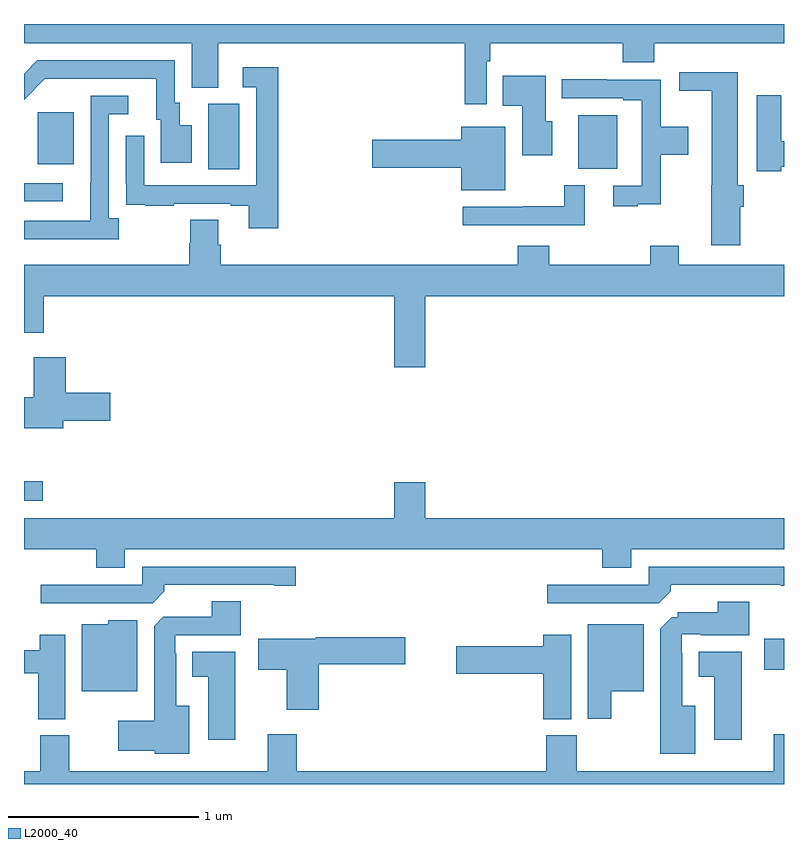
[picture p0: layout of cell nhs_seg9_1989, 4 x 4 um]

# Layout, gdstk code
import gdstk
lib = gdstk.Library(unit=1e-6, precision=1e-09)
def R(c, l, rs):  # rectangles x0, y0, x1, y1
    for r in rs: c.add(gdstk.rectangle(r[:2], r[2:], *l))
def P(c, l, *ps):  # polygons
    for p in ps: c.add(gdstk.Polygon(p, *l))
L2000_40 = (2000, 40)

nhs_seg9_1989 = lib.new_cell('nhs_seg9_1989')
R(nhs_seg9_1989, L2000_40, [(226.896,1213.102,227,1213.264), (223,1213.992,223.099,1214.093), (223,1215.567,223.204,1215.663), (223.97,1215.736,224.134,1216.08), (225.917,1215.737,226.123,1216.021), (223.073,1215.761,223.261,1216.036)])
P(nhs_seg9_1989, L2000_40, [(225.435,1216.304),(225.455,1216.304),(225.455,1216.4),(226.151,1216.4),(226.151,1216.298),(226.316,1216.298),(226.316,1216.4),(227,1216.4),(227,1216.5),(223,1216.5),(223,1216.4),(223.883,1216.4),(223.883,1216.165),(224.023,1216.165),(224.023,1216.4),(225.319,1216.4),(225.319,1216.077),(225.435,1216.077)],
  [(223.882,1215.967),(223.819,1215.967),(223.819,1216.086),(223.794,1216.086),(223.794,1216.308),(223.07,1216.308),(223,1216.238),(223,1216.102),(223.11,1216.212),(223.697,1216.212),(223.697,1215.996),(223.721,1215.996),(223.721,1215.771),(223.882,1215.771)],
  [(224.339,1216.273),(224.151,1216.273),(224.151,1216.167),(224.223,1216.167),(224.223,1215.651),(223.632,1215.651),(223.632,1215.913),(223.536,1215.913),(223.536,1215.658),(223.537,1215.658),(223.537,1215.549),(223.639,1215.549),(223.639,1215.543),(223.787,1215.543),(223.787,1215.555),(224.087,1215.555),(224.087,1215.543),(224.183,1215.543),(224.183,1215.426),(224.339,1215.426)],
  [(226.769,1215.537),(226.787,1215.537),(226.787,1215.651),(226.756,1215.651),(226.756,1216.246),(226.449,1216.246),(226.449,1216.148),(226.619,1216.148),(226.619,1215.651),(226.616,1215.651),(226.616,1215.336),(226.769,1215.336)],
  [(225.781,1215.987),(225.745,1215.987),(225.745,1216.228),(225.52,1216.228),(225.52,1216.07),(225.623,1216.07),(225.623,1215.809),(225.781,1215.809)],
  [(226.229,1215.551),(226.352,1215.551),(226.352,1215.811),(226.495,1215.811),(226.495,1215.958),(226.352,1215.958),(226.352,1216.206),(226.067,1216.206),(226.067,1216.208),(225.83,1216.208),(225.83,1216.11),(226.154,1216.11),(226.154,1216.098),(226.251,1216.098),(226.251,1215.648),(226.101,1215.648),(226.101,1215.54),(226.229,1215.54)],
  [(226.986,1215.748),(227,1215.748),(227,1215.884),(226.986,1215.884),(226.986,1216.126),(226.856,1216.126),(226.856,1215.725),(226.986,1215.725)],
  [(223.498,1215.478),(223.446,1215.478),(223.446,1216.026),(223.549,1216.026),(223.549,1216.122),(223.35,1216.122),(223.35,1215.665),(223.349,1215.665),(223.349,1215.465),(223,1215.465),(223,1215.368),(223.498,1215.368)],
  [(225.532,1215.958),(225.302,1215.958),(225.302,1215.89),(224.832,1215.89),(224.832,1215.743),(225.302,1215.743),(225.302,1215.626),(225.532,1215.626)],
  [(225.952,1215.652),(225.843,1215.652),(225.843,1215.542),(225.628,1215.542),(225.628,1215.537),(225.309,1215.537),(225.309,1215.441),(225.952,1215.441)],
  [(225.112,1215.068),(227,1215.068),(227,1215.232),(226.447,1215.232),(226.447,1215.334),(226.295,1215.334),(226.295,1215.232),(225.764,1215.232),(225.764,1215.334),(225.599,1215.334),(225.599,1215.232),(224.036,1215.232),(224.036,1215.338),(224.023,1215.338),(224.023,1215.47),(223.876,1215.47),(223.876,1215.345),(223.871,1215.345),(223.871,1215.232),(223,1215.232),(223,1214.874),(223.103,1214.874),(223.103,1215.068),(224.948,1215.068),(224.948,1214.694),(225.112,1214.694)],
  [(223.207,1214.411),(223.453,1214.411),(223.453,1214.558),(223.22,1214.558),(223.22,1214.746),(223.052,1214.746),(223.052,1214.535),(223,1214.535),(223,1214.372),(223.207,1214.372)],
  [(223.531,1213.736),(226.043,1213.736),(226.043,1213.637),(226.195,1213.637),(226.195,1213.736),(227,1213.736),(227,1213.9),(225.112,1213.9),(225.112,1214.089),(224.948,1214.089),(224.948,1213.9),(223,1213.9),(223,1213.736),(223.379,1213.736),(223.379,1213.637),(223.531,1213.637)],
  [(223.739,1213.514),(223.739,1213.548),(224.318,1213.548),(224.318,1213.543),(224.431,1213.543),(224.431,1213.644),(223.623,1213.644),(223.623,1213.548),(223.089,1213.548),(223.089,1213.452),(223.677,1213.452)],
  [(226.403,1213.514),(226.403,1213.548),(226.982,1213.548),(226.982,1213.543),(227,1213.543),(227,1213.644),(226.287,1213.644),(226.287,1213.548),(225.753,1213.548),(225.753,1213.452),(226.341,1213.452)],
  [(223.87,1212.913),(223.801,1212.913),(223.801,1213.187),(223.797,1213.187),(223.797,1213.284),(224.141,1213.284),(224.141,1213.463),(223.988,1213.463),(223.988,1213.38),(223.734,1213.38),(223.685,1213.331),(223.685,1212.832),(223.497,1212.832),(223.497,1212.674),(223.689,1212.674),(223.689,1212.659),(223.87,1212.659)],
  [(226.534,1212.913),(226.465,1212.913),(226.465,1213.187),(226.461,1213.187),(226.461,1213.287),(226.561,1213.287),(226.561,1213.283),(226.816,1213.283),(226.816,1213.459),(226.652,1213.459),(226.652,1213.405),(226.44,1213.405),(226.44,1213.377),(226.409,1213.377),(226.349,1213.317),(226.349,1212.659),(226.534,1212.659)],
  [(223.597,1213.363),(223.443,1213.363),(223.443,1213.342),(223.304,1213.342),(223.304,1212.989),(223.597,1212.989)],
  [(226.09,1212.989),(226.261,1212.989),(226.261,1213.342),(225.968,1213.342),(225.968,1212.843),(226.09,1212.843)],
  [(223.216,1213.285),(223.082,1213.285),(223.082,1213.203),(223,1213.203),(223,1213.084),(223.075,1213.084),(223.075,1212.841),(223.216,1212.841)],
  [(225.88,1213.285),(225.734,1213.285),(225.734,1213.226),(225.276,1213.226),(225.276,1213.079),(225.734,1213.079),(225.734,1212.841),(225.88,1212.841)],
  [(224.552,1213.13),(225.007,1213.13),(225.007,1213.272),(224.535,1213.272),(224.535,1213.264),(224.232,1213.264),(224.232,1213.102),(224.384,1213.102),(224.384,1212.891),(224.552,1212.891)],
  [(224.113,1213.195),(223.886,1213.195),(223.886,1213.064),(223.97,1213.064),(223.97,1212.732),(224.113,1212.732)],
  [(226.777,1213.195),(226.55,1213.195),(226.55,1213.064),(226.634,1213.064),(226.634,1212.732),(226.777,1212.732)],
  [(227,1212.763),(226.946,1212.763),(226.946,1212.568),(225.909,1212.568),(225.909,1212.756),(225.749,1212.756),(225.749,1212.568),(224.435,1212.568),(224.435,1212.763),(224.282,1212.763),(224.282,1212.568),(223.237,1212.568),(223.237,1212.756),(223.085,1212.756),(223.085,1212.568),(223,1212.568),(223,1212.5),(227,1212.5)])

lib.write_gds('nhs_seg9_1989.gds')
